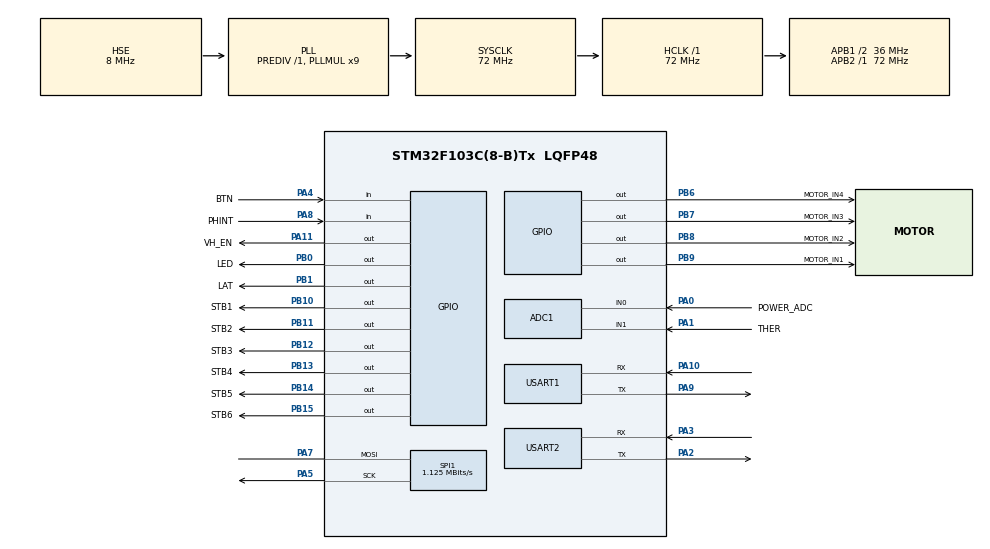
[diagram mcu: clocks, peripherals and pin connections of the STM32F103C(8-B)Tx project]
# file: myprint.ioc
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ADC1.Channel-4\#ChannelRegularConversion=ADC_CHANNEL_0
ADC1.Channel-5\#ChannelRegularConversion=ADC_CHANNEL_1
ADC1.DiscontinuousConvMode=ENABLE
ADC1.EnableRegularConversion=ENABLE
ADC1.NbrOfConversion=2
ADC1.NbrOfConversionFlag=1
ADC1.NbrOfDiscConversion=1
ADC1.Rank-4\#ChannelRegularConversion=1
ADC1.Rank-5\#ChannelRegularConversion=2
ADC1.SamplingTime-4\#ChannelRegularConversion=ADC_SAMPLETIME_1CYCLE_5
ADC1.SamplingTime-5\#ChannelRegularConversion=ADC_SAMPLETIME_1CYCLE_5
ADC1.master=1
FREERTOS.Tasks01=defaultTask,24,128,StartDefaultTask,Default,NULL,Dynamic,NULL,NULL
FREERTOS.configTOTAL_HEAP_SIZE=8192
Mcu.Family=STM32F1
Mcu.Name=STM32F103C(8-B)Tx
Mcu.Package=LQFP48
NVIC.PriorityGroup=NVIC_PRIORITYGROUP_4
NVIC.TIM4_IRQn=true\:15\:0\:false\:false\:true\:false\:false\:true\:true
NVIC.TimeBase=TIM4_IRQn
NVIC.TimeBaseIP=TIM4
NVIC.USART1_IRQn=true\:5\:0\:false\:false\:true\:true\:true\:true\:true
NVIC.USART2_IRQn=true\:5\:0\:false\:false\:true\:true\:true\:true\:true
PA0-WKUP.GPIO_Label=POWER_ADC
PA0-WKUP.Signal=ADCx_IN0
PA1.GPIO_Label=THER 
PA1.Signal=ADCx_IN1
PA10.Mode=Asynchronous
PA10.Signal=USART1_RX
PA11.GPIO_Label=VH_EN
PA11.Signal=GPIO_Output
PA13.Mode=Serial_Wire
PA13.Signal=SYS_JTMS-SWDIO
PA14.Mode=Serial_Wire
PA14.Signal=SYS_JTCK-SWCLK
PA2.Mode=Asynchronous
PA2.Signal=USART2_TX
PA3.Mode=Asynchronous
PA3.Signal=USART2_RX
PA4.GPIO_Label=BTN
PA4.GPIO_PuPd=GPIO_PULLUP
PA4.Signal=GPIO_Input
PA5.Mode=Simplex_Bidirectional_Master
PA5.Signal=SPI1_SCK
PA7.Mode=Simplex_Bidirectional_Master
PA7.Signal=SPI1_MOSI
PA8.GPIO_Label=PHINT
PA8.GPIO_PuPd=GPIO_PULLDOWN
PA8.Signal=GPIO_Input
PA9.Mode=Asynchronous
PA9.Signal=USART1_TX
PB0.GPIO_Label=LED
PB0.Signal=GPIO_Output
PB1.GPIO_Label=LAT
PB1.Signal=GPIO_Output
PB10.GPIO_Label=STB1
PB10.Signal=GPIO_Output
PB11.GPIO_Label=STB2
PB11.Signal=GPIO_Output
PB12.GPIO_Label=STB3
PB12.Signal=GPIO_Output
PB13.GPIO_Label=STB4
PB13.Signal=GPIO_Output
PB14.GPIO_Label=STB5
PB14.Signal=GPIO_Output
PB15.GPIO_Label=STB6
PB15.Signal=GPIO_Output
PB6.GPIO_Label=MOTOR_IN4
PB6.Signal=GPIO_Output
PB7.GPIO_Label=MOTOR_IN3
PB7.Signal=GPIO_Output
PB8.GPIO_Label=MOTOR_IN2
PB8.Signal=GPIO_Output
PB9.GPIO_Label=MOTOR_IN1
PB9.Signal=GPIO_Output
PD0-OSC_IN.Mode=HSE-External-Oscillator
PD0-OSC_IN.Signal=RCC_OSC_IN
PD1-OSC_OUT.Mode=HSE-External-Oscillator
PD1-OSC_OUT.Signal=RCC_OSC_OUT
ProjectManager.HeapSize=0x200
ProjectManager.StackSize=0x400
ProjectManager.TargetToolchain=MDK-ARM V5.32
RCC.ADCPresc=RCC_ADCPCLK2_DIV6
RCC.AHBFreq_Value=72000000
RCC.APB1CLKDivider=RCC_HCLK_DIV2
RCC.APB1Freq_Value=36000000
RCC.APB1TimFreq_Value=72000000
RCC.APB2Freq_Value=72000000
RCC.APB2TimFreq_Value=72000000
RCC.HCLKFreq_Value=72000000
RCC.PLLMUL=RCC_PLL_MUL9
RCC.PLLSourceVirtual=RCC_PLLSOURCE_HSE
RCC.SYSCLKFreq_VALUE=72000000
RCC.SYSCLKSource=RCC_SYSCLKSOURCE_PLLCLK
RCC.USBFreq_Value=72000000
SH.ADCx_IN0.0=ADC1_IN0,IN0
SH.ADCx_IN1.0=ADC1_IN1,IN1
SPI1.BaudRatePrescaler=SPI_BAUDRATEPRESCALER_64
SPI1.CalculateBaudRate=1.125 MBits/s
SPI1.Direction=SPI_DIRECTION_1LINE
SPI1.Mode=SPI_MODE_MASTER
SPI1.VirtualType=VM_MASTER
USART1.VirtualMode=VM_ASYNC
USART2.VirtualMode=VM_ASYNC
VP_FREERTOS_VS_CMSIS_V2.Mode=CMSIS_V2
VP_SYS_VS_tim4.Mode=TIM4
board=custom

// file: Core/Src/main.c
/* USER CODE BEGIN Header */
/**
  ******************************************************************************
  * @file           : main.c
  * @brief          : Main program body
  ******************************************************************************
  * @attention
  *
  * Copyright (c) 2024 STMicroelectronics.
  * All rights reserved.
  *
  * This software is licensed under terms that can be found in the LICENSE file
  * in the root directory of this software component.
  * If no LICENSE file comes with this software, it is provided AS-IS.
  *
  ******************************************************************************
  */
/* USER CODE END Header */
#include "main.h"
#include "cmsis_os.h"
#include "adc.h"
#include "spi.h"
#include "usart.h"
#include "gpio.h"

void SystemClock_Config(void);
void MX_FREERTOS_Init(void);

/* USER CODE BEGIN 0 */
extern uint8_t aRxBuffer;
/* USER CODE END 0 */

int main(void)
{

  /* MCU Configuration--------------------------------------------------------*/

  /* Reset of all peripherals, Initializes the Flash interface and the Systick. */
  HAL_Init();

  /* Configure the system clock */
  SystemClock_Config();

  /* Initialize all configured peripherals */
  MX_GPIO_Init();
  MX_USART1_UART_Init();
  MX_ADC1_Init();
  MX_USART2_UART_Init();
  MX_SPI1_Init();
  /* USER CODE BEGIN 2 */
     HAL_UART_Receive_IT(&huart2, (uint8_t *)&aRxBuffer, 1);
  /* USER CODE END 2 */

  /* Init scheduler */
  osKernelInitialize();

  /* Call init function for freertos objects (in cmsis_os2.c) */
  MX_FREERTOS_Init();

  /* Start scheduler */
  osKernelStart();

  /* We should never get here as control is now taken by the scheduler */

  /* Infinite loop */
  while (1)
  {

  }
}

void SystemClock_Config(void)
{
  RCC_OscInitTypeDef RCC_OscInitStruct = {0};
  RCC_ClkInitTypeDef RCC_ClkInitStruct = {0};
  RCC_PeriphCLKInitTypeDef PeriphClkInit = {0};

  /** Initializes the RCC Oscillators according to the specified parameters
  * in the RCC_OscInitTypeDef structure.
  */
  RCC_OscInitStruct.OscillatorType = RCC_OSCILLATORTYPE_HSE;
  RCC_OscInitStruct.HSEState = RCC_HSE_ON;
  RCC_OscInitStruct.HSEPredivValue = RCC_HSE_PREDIV_DIV1;
  RCC_OscInitStruct.HSIState = RCC_HSI_ON;
  RCC_OscInitStruct.PLL.PLLState = RCC_PLL_ON;
  RCC_OscInitStruct.PLL.PLLSource = RCC_PLLSOURCE_HSE;
  RCC_OscInitStruct.PLL.PLLMUL = RCC_PLL_MUL9;
  if (HAL_RCC_OscConfig(&RCC_OscInitStruct) != HAL_OK)
  {
    Error_Handler();
  }

  /** Initializes the CPU, AHB and APB buses clocks
  */
  RCC_ClkInitStruct.ClockType = RCC_CLOCKTYPE_HCLK|RCC_CLOCKTYPE_SYSCLK
                              |RCC_CLOCKTYPE_PCLK1|RCC_CLOCKTYPE_PCLK2;
  RCC_ClkInitStruct.SYSCLKSource = RCC_SYSCLKSOURCE_PLLCLK;
  RCC_ClkInitStruct.AHBCLKDivider = RCC_SYSCLK_DIV1;
  RCC_ClkInitStruct.APB1CLKDivider = RCC_HCLK_DIV2;
  RCC_ClkInitStruct.APB2CLKDivider = RCC_HCLK_DIV1;

  if (HAL_RCC_ClockConfig(&RCC_ClkInitStruct, FLASH_LATENCY_2) != HAL_OK)
  {
    Error_Handler();
  }
  PeriphClkInit.PeriphClockSelection = RCC_PERIPHCLK_ADC;
  PeriphClkInit.AdcClockSelection = RCC_ADCPCLK2_DIV6;
  if (HAL_RCCEx_PeriphCLKConfig(&PeriphClkInit) != HAL_OK)
  {
    Error_Handler();
  }
}

void HAL_TIM_PeriodElapsedCallback(TIM_HandleTypeDef *htim)
{
  if (htim->Instance == TIM4) {
    HAL_IncTick();
  }
}

void Error_Handler(void)
{
  __disable_irq();
  while (1)
  {
  }
}

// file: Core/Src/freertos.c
/* USER CODE BEGIN Header */
/**
  ******************************************************************************
  * File Name          : freertos.c
  * Description        : Code for freertos applications
  ******************************************************************************
  * @attention
  *
  * Copyright (c) 2024 STMicroelectronics.
  * All rights reserved.
  *
  * This software is licensed under terms that can be found in the LICENSE file
  * in the root directory of this software component.
  * If no LICENSE file comes with this software, it is provided AS-IS.
  *
  ******************************************************************************
  */
/* USER CODE END Header */

#include "FreeRTOS.h"
#include "task.h"
#include "main.h"
#include "cmsis_os.h"

/* USER CODE BEGIN Includes */
#include "LED.h"
#include "KEY.h"
#include "POWER.h"
#include "em_adc.h"
#include "BLE.h"
#include "stdio.h"
#include "usart.h"
#include "motor.h"
#include "printer.h"
#include "mytask.h"
/* USER CODE END Includes */

/* Definitions for defaultTask */
osThreadId_t defaultTaskHandle;
const osThreadAttr_t defaultTask_attributes = {
  .name = "defaultTask",
  .stack_size = 128 * 4,
  .priority = (osPriority_t) osPriorityNormal,
};

void StartDefaultTask(void *argument);

void MX_FREERTOS_Init(void); /* (MISRA C 2004 rule 8.1) */

void MX_FREERTOS_Init(void) {
  /* USER CODE BEGIN Init */
   task_init();
  /* USER CODE END Init */

  /* Create the thread(s) */
  /* creation of defaultTask */
  defaultTaskHandle = osThreadNew(StartDefaultTask, NULL, &defaultTask_attributes);

  /* USER CODE BEGIN RTOS_THREADS */
   xTaskCreate(task_printer,"printer_task",4*128,NULL,osPriorityNormal,NULL);
  /* add threads, ... */
  /* USER CODE END RTOS_THREADS */

}

void StartDefaultTask(void *argument)
{
  /* USER CODE BEGIN StartDefaultTask */
  init_ble();

  motor_init();
  printer_init();
  HAL_GPIO_WritePin(VH_EN_GPIO_Port,VH_EN_Pin,GPIO_PIN_RESET);
  /* Infinite loop */
  for(;;)
  {
    /*
    if(Paper_Detection() == 1)
    {
      printf("缺纸\n");
    }else
    {
      printf("不缺纸\n");
    }
    uint8_t power;
    float temp;
    get_power_temp(&power,&temp);
    printf("电压�???:%d  温度�???:%f度\n",power,temp);
    */
   printf("pinter run\n");
     //printer_test();
   //motor_run_step(100);
    vTaskDelay(3000);
  }
  /* USER CODE END StartDefaultTask */
}
